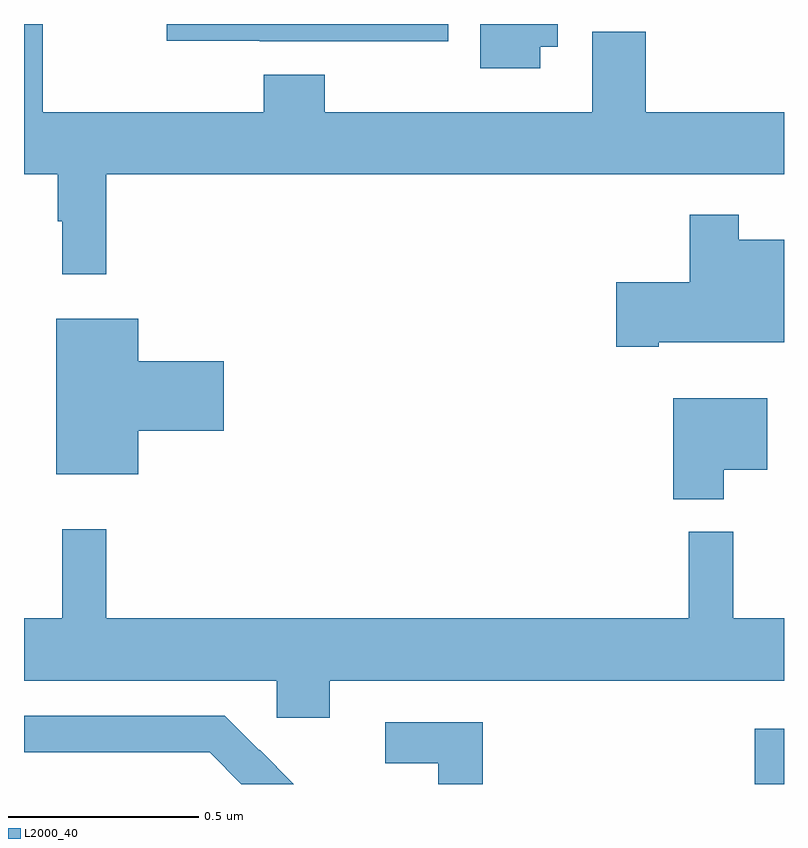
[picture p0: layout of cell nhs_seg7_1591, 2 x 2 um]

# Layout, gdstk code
import gdstk
lib = gdstk.Library(unit=1e-6, precision=1e-09)
def R(c, l, rs):  # rectangles x0, y0, x1, y1
    for r in rs: c.add(gdstk.rectangle(r[:2], r[2:], *l))
def P(c, l, *ps):  # polygons
    for p in ps: c.add(gdstk.Polygon(p, *l))
L2000_40 = (2000, 40)

nhs_seg7_1591 = lib.new_cell('nhs_seg7_1591')
R(nhs_seg7_1591, L2000_40, [(134.923,1011,135,1011.145)])
P(nhs_seg7_1591, L2000_40, [(134.116,1013),(133.376,1013),(133.376,1012.956),(133.62,1012.956),(133.62,1012.955),(134.116,1012.955)],
  [(133.217,1012.604),(135,1012.604),(135,1012.768),(134.636,1012.768),(134.636,1012.98),(134.495,1012.98),(134.495,1012.768),(133.791,1012.768),(133.791,1012.867),(133.631,1012.867),(133.631,1012.768),(133.049,1012.768),(133.049,1013),(133,1013),(133,1012.604),(133.089,1012.604),(133.089,1012.481),(133.1,1012.481),(133.1,1012.341),(133.217,1012.341)],
  [(134.359,1012.94),(134.404,1012.94),(134.404,1013),(134.201,1013),(134.201,1012.884),(134.359,1012.884)],
  [(134.671,1012.163),(135,1012.163),(135,1012.432),(134.881,1012.432),(134.881,1012.498),(134.752,1012.498),(134.752,1012.321),(134.559,1012.321),(134.559,1012.151),(134.671,1012.151)],
  [(133.3,1011.929),(133.525,1011.929),(133.525,1012.112),(133.3,1012.112),(133.3,1012.225),(133.085,1012.225),(133.085,1011.815),(133.3,1011.815)],
  [(134.842,1011.827),(134.956,1011.827),(134.956,1012.015),(134.708,1012.015),(134.708,1011.749),(134.842,1011.749)],
  [(133.804,1011.272),(135,1011.272),(135,1011.436),(134.867,1011.436),(134.867,1011.664),(134.749,1011.664),(134.749,1011.436),(133.217,1011.436),(133.217,1011.67),(133.1,1011.67),(133.1,1011.436),(133,1011.436),(133,1011.272),(133.665,1011.272),(133.665,1011.174),(133.804,1011.174)],
  [(133.62,1011.09),(133.619,1011.089),(133.528,1011.18),(133,1011.18),(133,1011.084),(133.489,1011.084),(133.572,1011),(133.71,1011)],
  [(134.207,1011.162),(133.95,1011.162),(133.95,1011.054),(134.09,1011.054),(134.09,1011),(134.207,1011)])

lib.write_gds('nhs_seg7_1591.gds')
